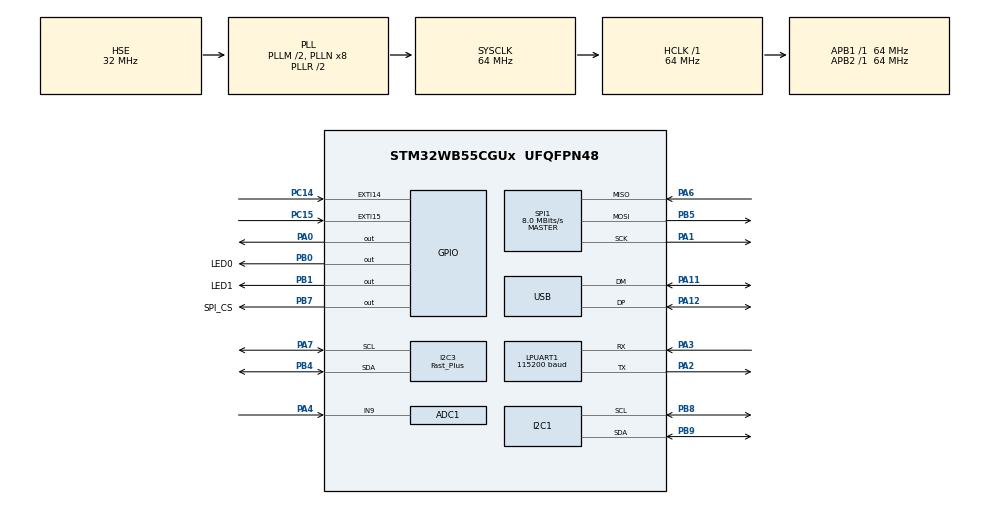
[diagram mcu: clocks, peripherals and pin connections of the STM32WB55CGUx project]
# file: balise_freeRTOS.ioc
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ADC1.Channel-0\#ChannelRegularConversion=ADC_CHANNEL_VREFINT
ADC1.Channel-1\#ChannelRegularConversion=ADC_CHANNEL_TEMPSENSOR
ADC1.Channel-2\#ChannelRegularConversion=ADC_CHANNEL_9
ADC1.ContinuousConvMode=ENABLE
ADC1.ExternalTrigConv=ADC_EXTERNALTRIG_T2_TRGO
ADC1.NbrOfConversion=3
ADC1.NbrOfConversionFlag=1
ADC1.OffsetNumber-0\#ChannelRegularConversion=ADC_OFFSET_NONE
ADC1.OffsetNumber-1\#ChannelRegularConversion=ADC_OFFSET_NONE
ADC1.OffsetNumber-2\#ChannelRegularConversion=ADC_OFFSET_NONE
ADC1.Rank-0\#ChannelRegularConversion=1
ADC1.Rank-1\#ChannelRegularConversion=2
ADC1.Rank-2\#ChannelRegularConversion=3
ADC1.SamplingTime-0\#ChannelRegularConversion=ADC_SAMPLETIME_640CYCLES_5
ADC1.SamplingTime-1\#ChannelRegularConversion=ADC_SAMPLETIME_640CYCLES_5
ADC1.SamplingTime-2\#ChannelRegularConversion=ADC_SAMPLETIME_640CYCLES_5
ADC1.master=1
Dma.ADC1.0.Direction=DMA_PERIPH_TO_MEMORY
Dma.ADC1.0.EventEnable=DISABLE
Dma.ADC1.0.Instance=DMA1_Channel1
Dma.ADC1.0.MemDataAlignment=DMA_MDATAALIGN_HALFWORD
Dma.ADC1.0.MemInc=DMA_MINC_ENABLE
Dma.ADC1.0.Mode=DMA_CIRCULAR
Dma.ADC1.0.PeriphDataAlignment=DMA_PDATAALIGN_HALFWORD
Dma.ADC1.0.PeriphInc=DMA_PINC_DISABLE
Dma.ADC1.0.Polarity=HAL_DMAMUX_REQ_GEN_RISING
Dma.ADC1.0.Priority=DMA_PRIORITY_LOW
Dma.ADC1.0.RequestNumber=1
Dma.ADC1.0.SignalID=NONE
Dma.ADC1.0.SyncEnable=DISABLE
Dma.ADC1.0.SyncPolarity=HAL_DMAMUX_SYNC_NO_EVENT
Dma.ADC1.0.SyncRequestNumber=1
Dma.ADC1.0.SyncSignalID=NONE
Dma.LPUART1_RX.1.Direction=DMA_PERIPH_TO_MEMORY
Dma.LPUART1_RX.1.EventEnable=DISABLE
Dma.LPUART1_RX.1.Instance=DMA1_Channel2
Dma.LPUART1_RX.1.MemDataAlignment=DMA_MDATAALIGN_BYTE
Dma.LPUART1_RX.1.MemInc=DMA_MINC_ENABLE
Dma.LPUART1_RX.1.Mode=DMA_CIRCULAR
Dma.LPUART1_RX.1.PeriphDataAlignment=DMA_PDATAALIGN_BYTE
Dma.LPUART1_RX.1.PeriphInc=DMA_PINC_DISABLE
Dma.LPUART1_RX.1.Polarity=HAL_DMAMUX_REQ_GEN_RISING
Dma.LPUART1_RX.1.Priority=DMA_PRIORITY_LOW
Dma.LPUART1_RX.1.RequestNumber=1
Dma.LPUART1_RX.1.SignalID=NONE
Dma.LPUART1_RX.1.SyncEnable=DISABLE
Dma.LPUART1_RX.1.SyncPolarity=HAL_DMAMUX_SYNC_NO_EVENT
Dma.LPUART1_RX.1.SyncRequestNumber=1
Dma.LPUART1_RX.1.SyncSignalID=NONE
Dma.LPUART1_TX.2.Direction=DMA_MEMORY_TO_PERIPH
Dma.LPUART1_TX.2.EventEnable=DISABLE
Dma.LPUART1_TX.2.Instance=DMA1_Channel3
Dma.LPUART1_TX.2.MemDataAlignment=DMA_MDATAALIGN_BYTE
Dma.LPUART1_TX.2.MemInc=DMA_MINC_ENABLE
Dma.LPUART1_TX.2.Mode=DMA_NORMAL
Dma.LPUART1_TX.2.PeriphDataAlignment=DMA_PDATAALIGN_BYTE
Dma.LPUART1_TX.2.PeriphInc=DMA_PINC_DISABLE
Dma.LPUART1_TX.2.Polarity=HAL_DMAMUX_REQ_GEN_RISING
Dma.LPUART1_TX.2.Priority=DMA_PRIORITY_LOW
Dma.LPUART1_TX.2.RequestNumber=1
Dma.LPUART1_TX.2.SignalID=NONE
Dma.LPUART1_TX.2.SyncEnable=DISABLE
Dma.LPUART1_TX.2.SyncPolarity=HAL_DMAMUX_SYNC_NO_EVENT
Dma.LPUART1_TX.2.SyncRequestNumber=1
Dma.LPUART1_TX.2.SyncSignalID=NONE
Dma.Request0=ADC1
Dma.Request1=LPUART1_RX
Dma.Request2=LPUART1_TX
FREERTOS.Tasks01=defaultTask,0,256,StartDefaultTask,Default,NULL,Dynamic,NULL,NULL;GNSSPARSE,1,256,StartTask02,Default,NULL,Dynamic,NULL,NULL;BALISE,3,256,StartTask03,Default,NULL,Dynamic,NULL,NULL;USBTRANSMIT,2,256,StartTask04,Default,NULL,Dynamic,NULL,NULL;BAROCALIB,-1,256,StartTask05,Default,NULL,Dynamic,NULL,NULL
FREERTOS.configENABLE_FPU=1
FREERTOS.configTOTAL_HEAP_SIZE=10000
FREERTOS.configUSE_NEWLIB_REENTRANT=1
I2C1.Timing=0x10B17DB5
I2C3.I2C_Speed_Mode=I2C_Fast_Plus
I2C3.Timing=0x00910B1C
LPUART1.BaudRate=115200
Mcu.Family=STM32WB
Mcu.Name=STM32WB55CGUx
Mcu.Package=UFQFPN48
NVIC.DMA1_Channel1_IRQn=true\:5\:0\:true\:false\:true\:true\:false\:true\:true
NVIC.DMA1_Channel2_IRQn=true\:6\:0\:true\:false\:true\:true\:false\:true\:true
NVIC.DMA1_Channel3_IRQn=true\:5\:0\:false\:false\:true\:true\:false\:true\:true
NVIC.EXTI15_10_IRQn=true\:5\:0\:true\:false\:true\:true\:true\:true\:true
NVIC.HSEM_IRQn=true\:5\:0\:false\:false\:true\:true\:false\:true\:true
NVIC.IPCC_C1_RX_IRQn=true\:5\:0\:false\:false\:true\:true\:true\:true\:true
NVIC.IPCC_C1_TX_IRQn=true\:5\:0\:false\:false\:true\:true\:true\:true\:true
NVIC.LPUART1_IRQn=true\:6\:0\:true\:false\:true\:true\:true\:true\:true
NVIC.PriorityGroup=NVIC_PRIORITYGROUP_4
NVIC.RTC_WKUP_IRQn=true\:5\:0\:false\:false\:true\:true\:true\:true\:true
NVIC.SPI1_IRQn=true\:7\:0\:true\:false\:true\:true\:true\:true\:true
NVIC.TIM1_TRG_COM_TIM17_IRQn=true\:5\:0\:true\:false\:true\:true\:true\:true\:true
NVIC.TIM1_UP_TIM16_IRQn=true\:15\:0\:true\:false\:true\:false\:true\:true\:true
NVIC.TimeBase=TIM1_UP_TIM16_IRQn
NVIC.TimeBaseIP=TIM1
NVIC.USB_LP_IRQn=true\:5\:0\:true\:false\:true\:true\:false\:true\:true
NimaLTD.I-CUBE-SPIF.2.3.2.DriverJjSPIF=true
NimaLTD.I-CUBE-SPIF.2.3.2.SPIF_PLATFORM=SPIF_PLATFORM_HAL_DMA
NimaLTD.I-CUBE-SPIF.2.3.2.SPIF_RTOS=SPIF_RTOS_CMSIS_V1
OSC_IN.Mode=HSE-External-Oscillator
OSC_IN.Signal=RCC_OSC_IN
OSC_OUT.Mode=HSE-External-Oscillator
OSC_OUT.Signal=RCC_OSC_OUT
PA0.Signal=GPIO_Output
PA1.Mode=Full_Duplex_Master
PA1.Signal=SPI1_SCK
PA11.Mode=Device
PA11.Signal=USB_DM
PA12.Mode=Device
PA12.Signal=USB_DP
PA13.Mode=Trace_Asynchronous_SW
PA13.Signal=SYS_JTMS-SWDIO
PA14.Mode=Trace_Asynchronous_SW
PA14.Signal=SYS_JTCK-SWCLK
PA2.Mode=Asynchronous
PA2.Signal=LPUART1_TX
PA3.Mode=Asynchronous
PA3.Signal=LPUART1_RX
PA4.Signal=ADCx_IN9
PA6.Mode=Full_Duplex_Master
PA6.Signal=SPI1_MISO
PA7.Mode=I2C
PA7.Signal=I2C3_SCL
PB0.GPIO_Label=LED0
PB0.Signal=GPIO_Output
PB1.GPIO_Label=LED1
PB1.Signal=GPIO_Output
PB3.Mode=Trace_Asynchronous_SW
PB3.Signal=SYS_JTDO-SWO
PB4.Mode=I2C
PB4.Signal=I2C3_SDA
PB5.Mode=Full_Duplex_Master
PB5.Signal=SPI1_MOSI
PB7.GPIO_Label=SPI_CS
PB7.Signal=GPIO_Output
PB8.Mode=I2C
PB8.Signal=I2C1_SCL
PB9.Mode=I2C
PB9.Signal=I2C1_SDA
PC14-OSC32_IN.GPIO_ModeDefaultEXTI=GPIO_MODE_IT_RISING_FALLING
PC14-OSC32_IN.Signal=GPXTI14
PC15-OSC32_OUT.GPIO_ModeDefaultEXTI=GPIO_MODE_IT_RISING_FALLING
PC15-OSC32_OUT.Signal=GPXTI15
ProjectManager.HeapSize=0x200
ProjectManager.StackSize=0x400
ProjectManager.TargetToolchain=STM32CubeIDE
RCC.ADCFreq_Value=48000000
RCC.AHB2CLKDivider=RCC_SYSCLK_DIV2
RCC.AHBFreq_Value=64000000
RCC.APB1Freq_Value=64000000
RCC.APB1TimFreq_Value=64000000
RCC.APB2Freq_Value=64000000
RCC.APB2TimFreq_Value=64000000
RCC.APB3Freq_Value=16000000
RCC.CortexFreq_Value=64000000
RCC.HCLKFreq_Value=64000000
RCC.HSE_VALUE=32000000
RCC.HSI48_VALUE=48000000
RCC.HSI_VALUE=16000000
RCC.LPUART1CLockSelection=RCC_LPUART1CLKSOURCE_HSI
RCC.LSE_VALUE=32768
RCC.MSIClockRange=RCC_MSIRANGE_10
RCC.PLLM=RCC_PLLM_DIV2
RCC.PLLSAI1N=6
RCC.PLLSourceVirtual=RCC_PLLSOURCE_HSE
RCC.RTCClockSelection=RCC_RTCCLKSOURCE_HSE_DIV32
RCC.SMPSCLockSelection=RCC_SMPSCLKSOURCE_HSE
RCC.SYSCLKFreq_VALUE=64000000
RCC.SYSCLKSource=RCC_SYSCLKSOURCE_PLLCLK
RCC.USBFreq_Value=48000000
RCC.VCOOutputFreq_Value=128000000
RF1.Mode=RF1_Activate
RF1.Signal=RF_RF1
RTC.AsynchPrediv=99
RTC.SynchPrediv=9999
RTC.WakeUpClock-WakeUp=RTC_WAKEUPCLOCK_CK_SPRE_16BITS
SH.ADCx_IN9.0=ADC1_IN9,IN9-Single-Ended
SPI1.BaudRatePrescaler=SPI_BAUDRATEPRESCALER_8
SPI1.CalculateBaudRate=8.0 MBits/s
SPI1.DataSize=SPI_DATASIZE_8BIT
SPI1.Direction=SPI_DIRECTION_2LINES
SPI1.Mode=SPI_MODE_MASTER
SPI1.VirtualType=VM_MASTER
TIM16.Prescaler=64000-1
TIM17.Period=200-1
TIM17.Prescaler=64000-1
TIM2.Period=1000-1
TIM2.Prescaler=6400-1
TIM2.TIM_MasterOutputTrigger=TIM_TRGO_UPDATE
USB_DEVICE.CLASS_NAME_FS=CDC
USB_DEVICE.VirtualMode=Cdc
USB_DEVICE.VirtualModeFS=Cdc_FS
VP_ADC1_TempSens_Input.Mode=IN-TempSens
VP_ADC1_Vref_Input.Mode=IN-Vrefint
VP_FREERTOS_VS_CMSIS_V1.Mode=CMSIS_V1
VP_HSEM_VS_HSEM.Mode=HSEM_Activate
VP_IPCC_VS_IPCC.Mode=IPCC_Activate
VP_MEMORYMAP_VS_MEMORYMAP.Mode=CurAppReg
VP_NimaLTD.I-CUBE-SPIF_VS_DriverJjSPIF_1.0.0_2.3.2.Mode=DriverJjSPIF
VP_RTC_VS_RTC_Activate.Mode=RTC_Enabled
VP_RTC_VS_RTC_Calendar.Mode=RTC_Calendar
VP_RTC_VS_RTC_WakeUp_intern.Mode=WakeUp
VP_SYS_VS_tim1.Mode=TIM1
VP_TIM16_VS_ClockSourceINT.Mode=Enable_Timer
VP_TIM17_VS_ClockSourceINT.Mode=Enable_Timer
VP_TIM2_VS_ClockSourceINT.Mode=Internal
VP_USB_DEVICE_VS_USB_DEVICE_CDC_FS.Mode=CDC_FS
board=custom

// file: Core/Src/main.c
/* USER CODE BEGIN Header */
/**
  ******************************************************************************
  * @file           : main.c
  * @brief          : Main program body
  ******************************************************************************
  * @attention
  *
  * Copyright (c) 2024 STMicroelectronics.
  * All rights reserved.
  *
  * This software is licensed under terms that can be found in the LICENSE file
  * in the root directory of this software component.
  * If no LICENSE file comes with this software, it is provided AS-IS.
  *
  ******************************************************************************
  */
/* USER CODE END Header */
#include "main.h"
#include "cmsis_os.h"
#include "adc.h"
#include "dma.h"
#include "i2c.h"
#include "ipcc.h"
#include "usart.h"
#include "rf.h"
#include "rtc.h"
#include "spi.h"
#include "tim.h"
#include "usb_device.h"
#include "gpio.h"

/* USER CODE BEGIN Includes */
#include "math.h"
#include "ssd1306.h"
#include "statemachine.h"
#include "stm32wbxx_hal.h"
#include "spif.h"
#include "bmp581.h"
#include "GNSS.h"

/* USER CODE END Includes */

/* USER CODE BEGIN PV */
STATE_TYPE state=STATE_SPEED;
SPEED spdstate=STATE_GROS;
POS posstate=STATE_SUMMARY1;
CHRONO chronostate=STATE_RESET;
USBSTATE usbstate=USBSTATE1;
BALISESTATE balisestate=BALISESTATE1;
SETTINGSTATE settingstate=CURRENTSETTING;
ACCELSTATE accelstate=WAITFORGPS;
uint8_t workingbuffer[110];
int BTN_A=0;
int BTN_B=0;

SPIF_HandleTypeDef hspif1;
extern SPI_HandleTypeDef hspi1;
extern TIM_HandleTypeDef htim16;
extern TIM_HandleTypeDef htim17;

uint16_t rawdata[3];
float temp=0.0;
float vrefint=0;
float vbat=0;

uint8_t flashwrite[256];
uint8_t flashread[2048];
int pageoffset=0;
int pagenumber=0;
int sectoreraseen=0;
uint8_t numbuf1[10];
uint8_t numbuf2[10];
uint8_t bufferscreen[50];
uint8_t longbufferscreen[256];
uint8_t usbbuffer[64];
uint16_t offsetforscroltext=0;
uint16_t scrolltextmax=0;

float vitmax=0.0;
float seconde=0;
float min=0;

uint32_t starttime=0;
uint32_t calctime=0;
uint32_t timehandler=0;
float t1=0;
float t2=0;
float t3=0;
float moy=0;
float framerate=0;
int flashbufferlen=0;

int erasetime=0;
int erasedisplay=0;
int usbtransmiten=0;
float usbpercent=0;

int doubledonnee=0;
int cptdoubledonnee=0;
double distanceparcouru=0;
double oldlat=0;
double oldlong=0;

float altibaro=0;

uint8_t SEC=0;
uint8_t HR=0;
uint8_t MINUTE=0;
uint8_t JOURS=10;
uint8_t MOIS=11;
uint16_t ANNEE=2024;
int settimeen=0;

int boutonAtime=0;
int boutonBtime=0;
int tbtn1=0;
int tbtn2=0;
int BTN_B_LONG=0;
int BTN_A_LONG=0;

ECRANBALISESTATE ecranstate=ECRANBALISESTATE1;

BMP_t * bmp581;
GNSS_StateHandle GNSSData;

int received_flag=0;

int flash_CNT_VALUE=0;
int BlueLED_CNT_VALUE=0;

int modesansechec=0;

const unsigned char startimg[] = {
0x00, 0x00, 0x00, 0x00, 0x00, 0x00, 0x00, 0x00,
0x7f, 0xff, 0xff, 0xff, 0xff, 0xff, 0xff, 0xfe,
0x7f, 0xff, 0xff, 0xff, 0xff, 0xff, 0xfe, 0x3e,
0x7f, 0xff, 0xff, 0xff, 0xff, 0xff, 0xf9, 0xce,
0x7f, 0xff, 0xff, 0xff, 0xff, 0xff, 0xfa, 0x2e,
0x7f, 0xfc, 0x1f, 0xff, 0xff, 0xff, 0xf6, 0xb6,
0x7f, 0xf0, 0x07, 0xff, 0xff, 0xff, 0xf6, 0x76,
0x7f, 0xc0, 0x01, 0xff, 0xff, 0xff, 0xfa, 0xae,
0x7f, 0x80, 0x00, 0xff, 0xff, 0xff, 0xf9, 0xce,
0x7f, 0x81, 0xc0, 0xff, 0xff, 0xff, 0xfe, 0x3e,
0x7f, 0x03, 0xe0, 0x7f, 0xff, 0xff, 0xff, 0xfe,
0x7f, 0x07, 0xf0, 0x7f, 0x0f, 0x03, 0xf0, 0x3e,
0x7f, 0x07, 0xf0, 0x7f, 0x0f, 0x03, 0xf0, 0x3e,
0x7f, 0x07, 0xf0, 0x7c, 0xff, 0x3c, 0xcf, 0xfe,
0x7f, 0x03, 0xe0, 0x7c, 0xff, 0x3c, 0xcf, 0xfe,
0x7f, 0x01, 0xc0, 0x7c, 0xc3, 0x03, 0xf0, 0xfe,
0x7f, 0x80, 0x00, 0xfc, 0xc3, 0x03, 0xf0, 0xfe,
0x7f, 0x80, 0x00, 0xfc, 0xf3, 0x3f, 0xff, 0x3e,
0x7f, 0xc0, 0x01, 0xfc, 0xf3, 0x3f, 0xff, 0x3e,
0x7f, 0xc0, 0x01, 0xff, 0x0f, 0x3f, 0xc0, 0xfe,
0x7f, 0xe0, 0x03, 0xff, 0x0f, 0x3f, 0xc0, 0xfe,
0x7f, 0xe0, 0x07, 0xff, 0xff, 0xff, 0xff, 0xfe,
0x7f, 0xf0, 0x07, 0xff, 0xff, 0xff, 0xff, 0xfe,
0x7f, 0xf0, 0x0f, 0xff, 0xff, 0x76, 0xfe, 0x7e,
0x7f, 0xf8, 0x0f, 0xff, 0xff, 0x74, 0xfd, 0xbe,
0x7f, 0xf8, 0x1f, 0xff, 0xff, 0xae, 0xfd, 0xbe,
0x7f, 0xfc, 0x1f, 0xff, 0xff, 0xae, 0xfd, 0xbe,
0x7f, 0xfc, 0x3f, 0xff, 0xff, 0xdc, 0x6e, 0x7e,
0x7f, 0xfe, 0x3f, 0xff, 0xff, 0xff, 0xff, 0xfe,
0x7f, 0xff, 0xff, 0xff, 0xff, 0xff, 0xff, 0xfe,
0x7f, 0xff, 0xff, 0xff, 0xff, 0xff, 0xff, 0xfe,
0x00, 0x00, 0x00, 0x00, 0x00, 0x00, 0x00, 0x00,
};

/* USER CODE END PV */

void SystemClock_Config(void);
void PeriphCommonClock_Config(void);
void MX_FREERTOS_Init(void);

/* USER CODE BEGIN 0 */
void HAL_GPIO_EXTI_Callback(uint16_t GPIO_Pin)//lors d'un appuie sur un bouton, le systeme s'interrompt afin d'arriver dans cette fonction redefinie avec en parametre d'entre , le bouton sur lequel l'on a appuiyé
{
	if(GPIO_Pin==GPIO_PIN_14){

		if(HAL_GPIO_ReadPin(GPIOC,GPIO_PIN_14)== GPIO_PIN_RESET){
					boutonAtime=0;
					tbtn1=HAL_GetTick();
				}
				else{
					boutonAtime=HAL_GetTick()-tbtn1;
					tbtn1=0;
				}

		if(boutonAtime>=50 && boutonAtime<=400){
			BTN_A++;
			BTN_A_LONG=0;
		}
		if(boutonAtime>=400){
			BTN_A_LONG++;
			BTN_A=0;
		}

	}
	if(GPIO_Pin==GPIO_PIN_15){

		if(HAL_GPIO_ReadPin(GPIOC,GPIO_PIN_15)== GPIO_PIN_RESET){
			boutonBtime=0;
			tbtn2=HAL_GetTick();
		}
		else{
			boutonBtime=HAL_GetTick()-tbtn2;
			tbtn2=0;
	}
		if(boutonBtime>=50 && boutonBtime<=400){
			BTN_B++;
			BTN_B_LONG=0;
		}
		if(boutonBtime>=400){
			BTN_B_LONG++;
			BTN_B=0;
		}

	}
}
/* USER CODE END 0 */

int main(void)
{

  /* MCU Configuration--------------------------------------------------------*/

  /* Reset of all peripherals, Initializes the Flash interface and the Systick. */
  HAL_Init();

  /* USER CODE BEGIN Init */

  GPIO_InitTypeDef GPIO_InitStruct = {0};
  void (*boot_jump)(void);

  __HAL_RCC_GPIOC_CLK_ENABLE();
   GPIO_InitStruct.Pin = GPIO_PIN_15|GPIO_PIN_14;
   GPIO_InitStruct.Mode = GPIO_MODE_INPUT;
   GPIO_InitStruct.Pull = GPIO_NOPULL;
   HAL_GPIO_Init(GPIOC, &GPIO_InitStruct);
   /* If both Select and Reset button held down at boot time, then immediately
    * jump to DFU bootloader, rather than start the Snickerdoodle application.
    */
   if ((HAL_GPIO_ReadPin(GPIOC, GPIO_PIN_14) == GPIO_PIN_RESET) &&
 	  (HAL_GPIO_ReadPin(GPIOC, GPIO_PIN_15) == GPIO_PIN_RESET))
   {
 	  HAL_DeInit();
 	  boot_jump = (void (*)(void))(*((uint32_t *)(SYS_MEM_START_ADDR + 4)));
 	  __set_MSP(*(__IO uint32_t*)SYS_MEM_START_ADDR);

 	  /* NOTE WELL: This call never returns: */
 	  boot_jump();
   }
   if(HAL_GPIO_ReadPin(GPIOC,GPIO_PIN_14)==GPIO_PIN_RESET){
	   modesansechec=1;
   }

  /* USER CODE END Init */

  /* Configure the system clock */
  SystemClock_Config();

  /* Configure the peripherals common clocks */
  PeriphCommonClock_Config();

  /* IPCC initialisation */
  MX_IPCC_Init();

  /* Initialize all configured peripherals */
  MX_GPIO_Init();
  MX_DMA_Init();
  MX_ADC1_Init();
  MX_I2C1_Init();
  MX_I2C3_Init();
  MX_LPUART1_UART_Init();
  MX_TIM2_Init();
  MX_TIM17_Init();
  MX_SPI1_Init();
  MX_RTC_Init();
  MX_TIM16_Init();
  MX_RF_Init();
  /* USER CODE BEGIN 2 */

  	ssd1306_Init();

  	HAL_Delay(10);
  	ssd1306_Fill(Black);

  	ssd1306_DrawBitmap(32, 32, startimg, 64, 32, White);
  	ssd1306_UpdateScreen();

  	HAL_ADC_Start_DMA(&hadc1,(uint32_t*)rawdata, 3);
  	HAL_TIM_Base_Start(&htim2);

  	HAL_GPIO_WritePin(GPIOA,GPIO_PIN_0,GPIO_PIN_SET);
  	HAL_Delay(100);
  	GNSS_Init(&GNSSData, &hlpuart1);

  	HAL_UART_Abort(&hlpuart1);
  	HAL_UART_Receive_DMA(&hlpuart1, (uint8_t *)workingbuffer, 100);

  	memset(flashread,'1',256);
  	memset(flashwrite,'\0',256);
  	memset((uint8_t *)bufferscreen ,'\0',50);

  	SPIF_Init(&hspif1, &hspi1, GPIOB, GPIO_PIN_7);
  	HAL_Delay(100);
  	if(modesansechec==0){
  		getindex();

  	}
  	else{

  		SPIF_EraseChip(&hspif1);
  	}
  	ssd1306_Fill(Black);

  	bmp581->i2c=&hi2c1;
  	bmp581->addr=0x47;

  	if(bmp581_init_precise_normal(&bmp581)!=0){
  		ssd1306_SetCursor(32,42);
  		ssd1306_WriteString("bmp prbm", Font_7x10, White);
  		ssd1306_UpdateScreen();
  		HAL_Delay(1000);

  	}
  	state=STATE_SPEED;
  	BTN_A=0;
  	BTN_A_LONG=0;

  	HAL_Delay(200);

  	//LL_HSEM_1StepLock( HSEM, 5 );
  /* USER CODE END 2 */

  /* Call init function for freertos objects (in cmsis_os2.c) */
  MX_FREERTOS_Init();

  /* Start scheduler */
  osKernelStart();

  /* We should never get here as control is now taken by the scheduler */

  /* Infinite loop */
  while (1)
  {

  }
}

void SystemClock_Config(void)
{
  RCC_OscInitTypeDef RCC_OscInitStruct = {0};
  RCC_ClkInitTypeDef RCC_ClkInitStruct = {0};

  /** Configure the main internal regulator output voltage
  */
  __HAL_PWR_VOLTAGESCALING_CONFIG(PWR_REGULATOR_VOLTAGE_SCALE1);

  /** Initializes the RCC Oscillators according to the specified parameters
  * in the RCC_OscInitTypeDef structure.
  */
  RCC_OscInitStruct.OscillatorType = RCC_OSCILLATORTYPE_HSI|RCC_OSCILLATORTYPE_HSE;
  RCC_OscInitStruct.HSEState = RCC_HSE_ON;
  RCC_OscInitStruct.HSIState = RCC_HSI_ON;
  RCC_OscInitStruct.HSICalibrationValue = RCC_HSICALIBRATION_DEFAULT;
  RCC_OscInitStruct.PLL.PLLState = RCC_PLL_ON;
  RCC_OscInitStruct.PLL.PLLSource = RCC_PLLSOURCE_HSE;
  RCC_OscInitStruct.PLL.PLLM = RCC_PLLM_DIV2;
  RCC_OscInitStruct.PLL.PLLN = 8;
  RCC_OscInitStruct.PLL.PLLP = RCC_PLLP_DIV2;
  RCC_OscInitStruct.PLL.PLLR = RCC_PLLR_DIV2;
  RCC_OscInitStruct.PLL.PLLQ = RCC_PLLQ_DIV2;
  if (HAL_RCC_OscConfig(&RCC_OscInitStruct) != HAL_OK)
  {
    Error_Handler();
  }

  /** Configure the SYSCLKSource, HCLK, PCLK1 and PCLK2 clocks dividers
  */
  RCC_ClkInitStruct.ClockType = RCC_CLOCKTYPE_HCLK4|RCC_CLOCKTYPE_HCLK2
                              |RCC_CLOCKTYPE_HCLK|RCC_CLOCKTYPE_SYSCLK
                              |RCC_CLOCKTYPE_PCLK1|RCC_CLOCKTYPE_PCLK2;
  RCC_ClkInitStruct.SYSCLKSource = RCC_SYSCLKSOURCE_PLLCLK;
  RCC_ClkInitStruct.AHBCLKDivider = RCC_SYSCLK_DIV1;
  RCC_ClkInitStruct.APB1CLKDivider = RCC_HCLK_DIV1;
  RCC_ClkInitStruct.APB2CLKDivider = RCC_HCLK_DIV1;
  RCC_ClkInitStruct.AHBCLK2Divider = RCC_SYSCLK_DIV2;
  RCC_ClkInitStruct.AHBCLK4Divider = RCC_SYSCLK_DIV1;

  if (HAL_RCC_ClockConfig(&RCC_ClkInitStruct, FLASH_LATENCY_3) != HAL_OK)
  {
    Error_Handler();
  }
}

void PeriphCommonClock_Config(void)
{
  RCC_PeriphCLKInitTypeDef PeriphClkInitStruct = {0};

  /** Initializes the peripherals clock
  */
  PeriphClkInitStruct.PeriphClockSelection = RCC_PERIPHCLK_SMPS|RCC_PERIPHCLK_RFWAKEUP
                              |RCC_PERIPHCLK_USB|RCC_PERIPHCLK_ADC;
  PeriphClkInitStruct.PLLSAI1.PLLN = 6;
  PeriphClkInitStruct.PLLSAI1.PLLP = RCC_PLLP_DIV2;
  PeriphClkInitStruct.PLLSAI1.PLLQ = RCC_PLLQ_DIV2;
  PeriphClkInitStruct.PLLSAI1.PLLR = RCC_PLLR_DIV2;
  PeriphClkInitStruct.PLLSAI1.PLLSAI1ClockOut = RCC_PLLSAI1_USBCLK|RCC_PLLSAI1_ADCCLK;
  PeriphClkInitStruct.UsbClockSelection = RCC_USBCLKSOURCE_PLLSAI1;
  PeriphClkInitStruct.AdcClockSelection = RCC_ADCCLKSOURCE_PLLSAI1;
  PeriphClkInitStruct.RFWakeUpClockSelection = RCC_RFWKPCLKSOURCE_HSE_DIV1024;
  PeriphClkInitStruct.SmpsClockSelection = RCC_SMPSCLKSOURCE_HSE;
  PeriphClkInitStruct.SmpsDivSelection = RCC_SMPSCLKDIV_RANGE0;

  if (HAL_RCCEx_PeriphCLKConfig(&PeriphClkInitStruct) != HAL_OK)
  {
    Error_Handler();
  }
  /* USER CODE BEGIN Smps */
  //LL_HSEM_1StepLock( HSEM, 5 );

  /* USER CODE END Smps */
}

void HAL_TIM_PeriodElapsedCallback(TIM_HandleTypeDef *htim)
{
  if (htim->Instance == TIM1)
  {
    HAL_IncTick();
  }
}

void Error_Handler(void)
{
  __disable_irq();
  while (1)
  {
  }
}

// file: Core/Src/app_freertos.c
/* USER CODE BEGIN Header */
/**
  ******************************************************************************
  * File Name          : app_freertos.c
  * Description        : Code for freertos applications
  ******************************************************************************
  * @attention
  *
  * Copyright (c) 2025 STMicroelectronics.
  * All rights reserved.
  *
  * This software is licensed under terms that can be found in the LICENSE file
  * in the root directory of this software component.
  * If no LICENSE file comes with this software, it is provided AS-IS.
  *
  ******************************************************************************
  */
/* USER CODE END Header */

#include "FreeRTOS.h"
#include "task.h"
#include "main.h"
#include "cmsis_os.h"

/* USER CODE BEGIN Includes */

#include "ssd1306.h"
#include "statemachine.h"
#include "GNSS.h"
#include "stm32wbxx_hal.h"
#include "bmp581.h"
#include "spi.h"
#include "usb.h"
/* USER CODE END Includes */

/* USER CODE BEGIN Variables */

extern GNSS_StateHandle GNSSData;
extern int received_flag;
extern double oldlat;
extern double oldlong;
extern double distanceparcouru;
extern int pageoffset;
extern int pagenumber;
extern double bmpalt;
extern float vitmax;
extern BALISESTATE balisestate;
extern BMP_t * bmp581;
extern float vbat;
extern float temp;
extern uint8_t flashwrite[256];
extern int flashbufferlen;
extern double P0;
extern double bmppress;

/* USER CODE END Variables */
osThreadId defaultTaskHandle;
osThreadId GNSSPARSEHandle;
osThreadId BALISEHandle;
osThreadId USBTRANSMITHandle;
osThreadId BAROCALIBHandle;

void StartDefaultTask(void const * argument);
void StartTask02(void const * argument);
void StartTask03(void const * argument);
void StartTask04(void const * argument);
void StartTask05(void const * argument);

void MX_FREERTOS_Init(void); /* (MISRA C 2004 rule 8.1) */

void MX_FREERTOS_Init(void) {

  /* Create the thread(s) */
  /* definition and creation of defaultTask */
  osThreadDef(defaultTask, StartDefaultTask, osPriorityNormal, 0, 256);
  defaultTaskHandle = osThreadCreate(osThread(defaultTask), NULL);

  /* definition and creation of GNSSPARSE */
  osThreadDef(GNSSPARSE, StartTask02, osPriorityAboveNormal, 0, 256);
  GNSSPARSEHandle = osThreadCreate(osThread(GNSSPARSE), NULL);

  /* definition and creation of BALISE */
  osThreadDef(BALISE, StartTask03, osPriorityRealtime, 0, 256);
  BALISEHandle = osThreadCreate(osThread(BALISE), NULL);

  /* definition and creation of USBTRANSMIT */
  osThreadDef(USBTRANSMIT, StartTask04, osPriorityHigh, 0, 256);
  USBTRANSMITHandle = osThreadCreate(osThread(USBTRANSMIT), NULL);

  /* definition and creation of BAROCALIB */
  osThreadDef(BAROCALIB, StartTask05, osPriorityBelowNormal, 0, 256);
  BAROCALIBHandle = osThreadCreate(osThread(BAROCALIB), NULL);

  /* USER CODE BEGIN RTOS_THREADS */
  osThreadSuspend(BALISEHandle);
  osThreadSuspend(USBTRANSMITHandle);
  osThreadSetPriority(USBTRANSMITHandle, osPriorityRealtime);
  /* add threads, ... */
  /* USER CODE END RTOS_THREADS */

}

void StartDefaultTask(void const * argument)
{
  /* init code for USB_Device */
  MX_USB_Device_Init();
  /* USER CODE BEGIN StartDefaultTask */
  /* Infinite loop */
  for(;;)
  {
	statemachine();
	ssd1306_UpdateScreen();
    osDelay(50);

  }
  /* USER CODE END StartDefaultTask */
}

void StartTask02(void const * argument)
{
  /* USER CODE BEGIN StartTask02 */
  /* Infinite loop */
  for(;;)
  {

	  if(received_flag==1){

	  		  GNSS_ParsePVTData(&GNSSData);
	  		  received_flag=0;

	  	  }
	HAL_GPIO_TogglePin(GPIOB,GPIO_PIN_0);
    osDelay(100);

  }
  /* USER CODE END StartTask02 */
}

void StartTask03(void const * argument)
{
  /* USER CODE BEGIN StartTask03 */
  /* Infinite loop */
  for(;;)
  {
	  HAL_GPIO_TogglePin(GPIOB,GPIO_PIN_1);
	  if(GNSSData.fgSpeed>=vitmax){
							  									 vitmax=GNSSData.fgSpeed;
							  								 }

							  if(pagenumber+1>=MAX_WRITE_PAGE){
								  osThreadSuspend(NULL);
								  balisestate=2;

							  }

								bmp581_read_precise_normal(&bmp581);
								distanceparcouru=distanceparcouru + distancecalc(oldlat,GNSSData.fLat,oldlong, GNSSData.fLon);
								flashbufferlen=csvframe((uint8_t *)flashwrite,temp,vbat,GNSSData,GNSSData.numSV,GNSSData.fhACC,bmpalt);
								  oldlat=GNSSData.fLat;
								  oldlong=GNSSData.fLon;
								  writebuffertoflash((uint8_t*)flashwrite,flashbufferlen);

    osDelay(200);

  }
  /* USER CODE END StartTask03 */
}

void StartTask04(void const * argument)
{
  /* USER CODE BEGIN StartTask04 */
  /* Infinite loop */
  for(;;)
  {

	  usbtransmit();
	  ssd1306_UpdateScreen();
	  HAL_GPIO_TogglePin(GPIOB,GPIO_PIN_1);
	  osDelay(100);
  }
  /* USER CODE END StartTask04 */
}

void StartTask05(void const * argument)
{
  /* USER CODE BEGIN StartTask05 */
  /* Infinite loop */
  for(;;)
  {

	  if(GNSSData.fixType>=3){
		  bmp581_read_precise_normal(&bmp581);
		  P0 =(double) bmppress / powf((1 - (GNSSData.fhMSL / 44330.0f)), 5.255f);

	  }
    osDelay(20000);
  }
  /* USER CODE END StartTask05 */
}
